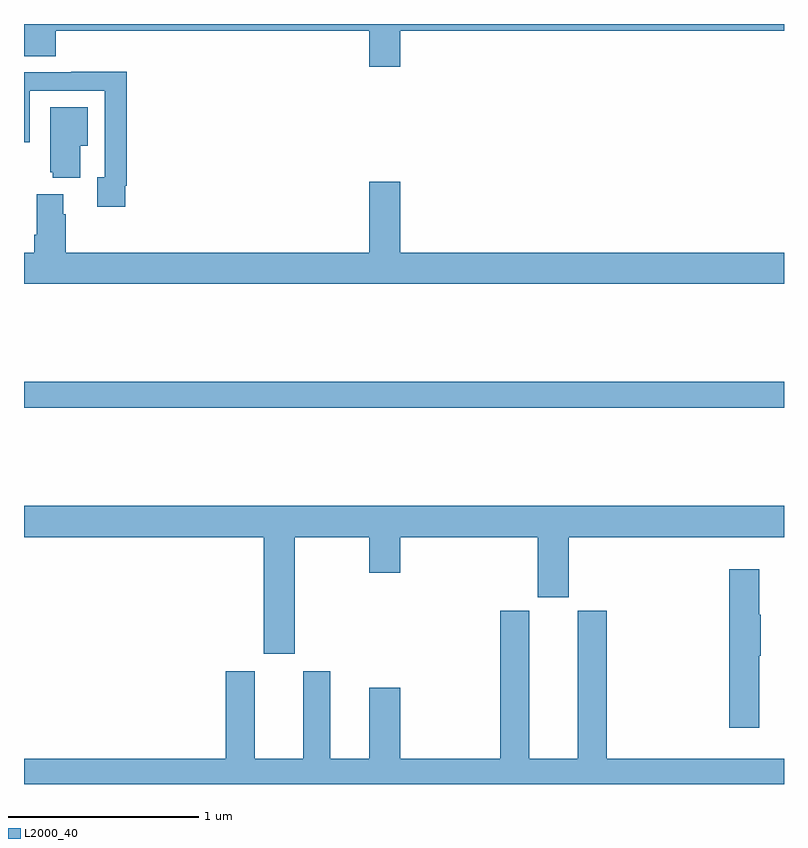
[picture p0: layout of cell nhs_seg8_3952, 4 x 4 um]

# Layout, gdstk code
import gdstk
lib = gdstk.Library(unit=1e-6, precision=1e-09)
def R(c, l, rs):  # rectangles x0, y0, x1, y1
    for r in rs: c.add(gdstk.rectangle(r[:2], r[2:], *l))
def P(c, l, *ps):  # polygons
    for p in ps: c.add(gdstk.Polygon(p, *l))
L2000_40 = (2000, 40)

nhs_seg8_3952 = lib.new_cell('nhs_seg8_3952')
R(nhs_seg8_3952, L2000_40, [(355,1083.88,359,1084.016)])
P(nhs_seg8_3952, L2000_40, [(356.98,1085.864),(359,1085.864),(359,1085.9),(355,1085.9),(355,1085.864),(355.001,1085.864),(355.001,1085.731),(355.166,1085.731),(355.166,1085.864),(356.816,1085.864),(356.816,1085.676),(356.98,1085.676)],
  [(355.534,1085.05),(355.541,1085.05),(355.541,1085.648),(355.249,1085.648),(355.249,1085.646),(355,1085.646),(355,1085.277),(355.029,1085.277),(355.029,1085.55),(355.425,1085.55),(355.425,1085.094),(355.385,1085.094),(355.385,1084.938),(355.534,1084.938)],
  [(355.297,1085.258),(355.336,1085.258),(355.336,1085.461),(355.139,1085.461),(355.139,1085.121),(355.151,1085.121),(355.151,1085.09),(355.297,1085.09)],
  [(359,1084.696),(356.98,1084.696),(356.98,1085.071),(356.816,1085.071),(356.816,1084.696),(355.22,1084.696),(355.22,1084.898),(355.207,1084.898),(355.207,1085.005),(355.067,1085.005),(355.067,1084.792),(355.055,1084.792),(355.055,1084.696),(355,1084.696),(355,1084.532),(359,1084.532)],
  [(356.425,1083.2),(356.816,1083.2),(356.816,1083.012),(356.98,1083.012),(356.98,1083.2),(357.704,1083.2),(357.704,1082.883),(357.868,1082.883),(357.868,1083.2),(359,1083.2),(359,1083.364),(355,1083.364),(355,1083.2),(356.261,1083.2),(356.261,1082.586),(356.425,1082.586)],
  [(358.87,1082.575),(358.878,1082.575),(358.878,1082.792),(358.87,1082.792),(358.87,1083.031),(358.712,1083.031),(358.712,1082.196),(358.87,1082.196)],
  [(359,1082.032),(358.067,1082.032),(358.067,1082.811),(357.914,1082.811),(357.914,1082.032),(357.658,1082.032),(357.658,1082.811),(357.506,1082.811),(357.506,1082.032),(356.98,1082.032),(356.98,1082.407),(356.816,1082.407),(356.816,1082.032),(356.611,1082.032),(356.611,1082.494),(356.471,1082.494),(356.471,1082.032),(356.215,1082.032),(356.215,1082.494),(356.063,1082.494),(356.063,1082.032),(355,1082.032),(355,1081.9),(359,1081.9)])

lib.write_gds('nhs_seg8_3952.gds')
